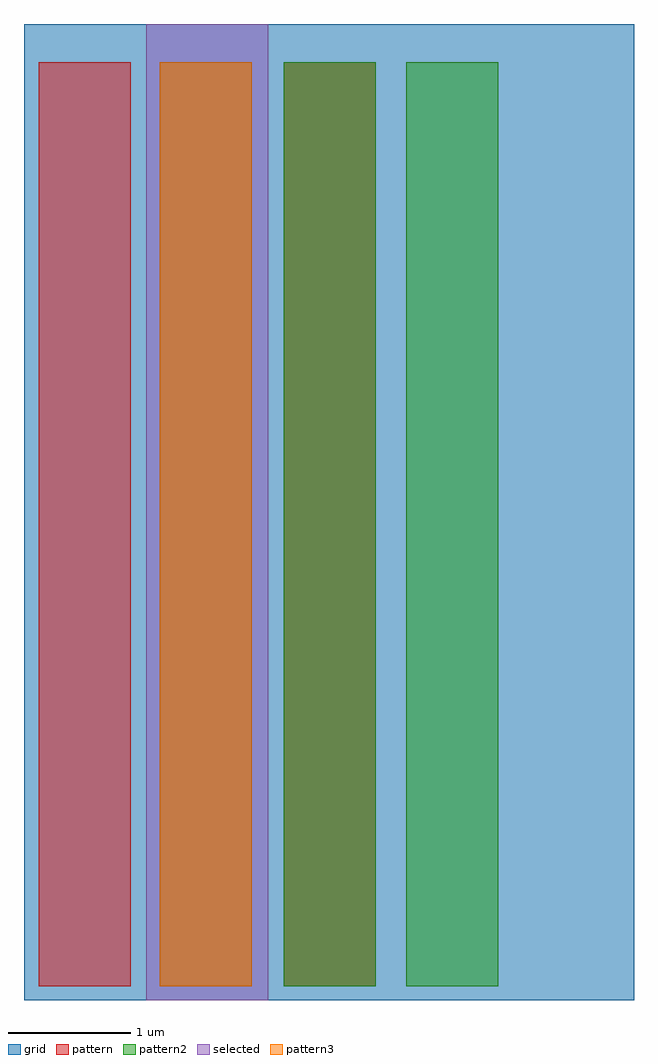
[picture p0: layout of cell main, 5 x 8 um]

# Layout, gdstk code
import gdstk
lib = gdstk.Library(unit=1e-6, precision=1e-09)
def R(c, l, rs):  # rectangles x0, y0, x1, y1
    for r in rs: c.add(gdstk.rectangle(r[:2], r[2:], *l))
def A(c, l, x, y, w, h, nx, ny, dx, dy):  # array of equal rectangles
    R(c, l, [(x+i*dx, y+j*dy, x+i*dx+w, y+j*dy+h) for i in range(nx) for j in range(ny)])
grid = (1, 0)
pattern = (2, 0)
pattern2 = (3, 0)
pattern3 = (4, 0)
selected = (417, 991)

main = lib.new_cell('main')
A(main, grid, -0.5, -0.5, 1, 1, 5, 8, 1, 1)
R(main, pattern, [(-0.378,-0.386,0.376,7.188), (0.614,-0.386,1.368,7.188), (1.628,-0.386,2.382,7.188)])
R(main, pattern2, [(0.614,-0.386,1.368,7.188), (1.628,-0.386,2.382,7.188), (2.633,-0.386,3.387,7.188)])
R(main, pattern3, [(0.614,-0.386,1.368,7.188)])
A(main, selected, 0.5, -0.5, 1, 1, 1, 8, 0, 1)

lib.write_gds('main.gds')
